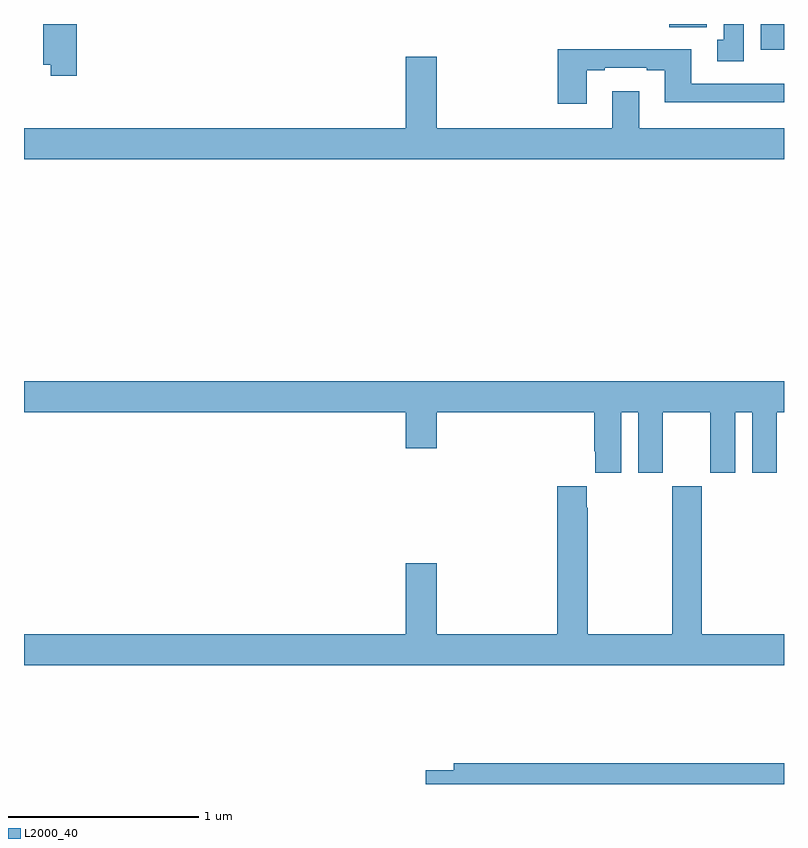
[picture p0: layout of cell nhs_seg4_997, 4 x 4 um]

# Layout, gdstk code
import gdstk
lib = gdstk.Library(unit=1e-6, precision=1e-09)
def R(c, l, rs):  # rectangles x0, y0, x1, y1
    for r in rs: c.add(gdstk.rectangle(r[:2], r[2:], *l))
def P(c, l, *ps):  # polygons
    for p in ps: c.add(gdstk.Polygon(p, *l))
L2000_40 = (2000, 40)

nhs_seg4_997 = lib.new_cell('nhs_seg4_997')
R(nhs_seg4_997, L2000_40, [(166.877,762.764,167,762.9), (166.397,762.884,166.594,762.9)])
P(nhs_seg4_997, L2000_40, [(163.277,762.9),(163.102,762.9),(163.102,762.686),(163.142,762.686),(163.142,762.627),(163.277,762.627)],
  [(166.789,762.9),(166.682,762.9),(166.682,762.818),(166.649,762.818),(166.649,762.705),(166.789,762.705)],
  [(165.961,762.657),(166.057,762.657),(166.057,762.669),(166.277,762.669),(166.277,762.657),(166.373,762.657),(166.373,762.488),(167,762.488),(167,762.585),(166.513,762.585),(166.513,762.766),(165.809,762.766),(165.809,762.48),(165.961,762.48)],
  [(167,762.352),(166.237,762.352),(166.237,762.547),(166.097,762.547),(166.097,762.352),(165.172,762.352),(165.172,762.727),(165.008,762.727),(165.008,762.352),(163,762.352),(163,762.188),(167,762.188)],
  [(166.144,760.856),(166.232,760.856),(166.232,760.539),(166.363,760.539),(166.363,760.856),(166.613,760.856),(166.613,760.539),(166.744,760.539),(166.744,760.856),(166.832,760.856),(166.832,760.539),(166.963,760.539),(166.963,760.856),(167,760.856),(167,761.02),(163,761.02),(163,760.856),(165.008,760.856),(165.008,760.668),(165.172,760.668),(165.172,760.856),(166.001,760.856),(166.001,760.651),(166.007,760.651),(166.007,760.539),(166.144,760.539)],
  [(167,759.688),(166.566,759.688),(166.566,760.468),(166.411,760.468),(166.411,759.688),(165.966,759.688),(165.966,760.355),(165.961,760.355),(165.961,760.468),(165.806,760.468),(165.806,759.688),(165.172,759.688),(165.172,760.063),(165.008,760.063),(165.008,759.688),(163,759.688),(163,759.524),(167,759.524)],
  [(167,759.008),(165.263,759.008),(165.263,758.972),(165.114,758.972),(165.114,758.9),(167,758.9)])

lib.write_gds('nhs_seg4_997.gds')
